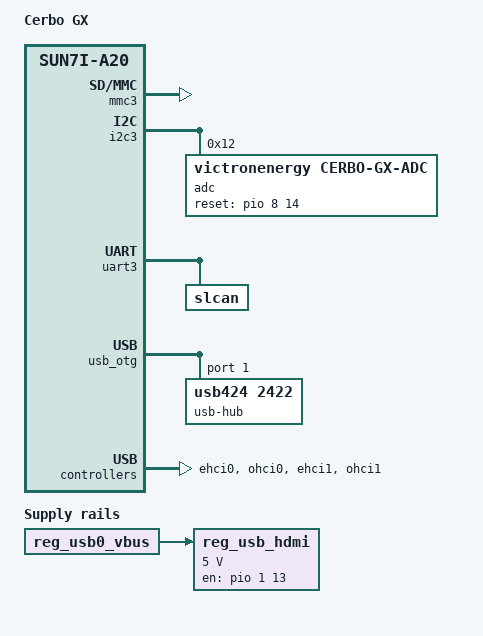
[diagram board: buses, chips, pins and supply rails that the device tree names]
// SPDX-License-Identifier: GPL-2.0 OR X11
/*
 * Copyright (C) 2018 Mans Rullgard <mans@mansr.com>
 */

/dts-v1/;

#include "sun7i-a20-einstein-cerbo-common.dtsi"

/ {
	model = "Cerbo GX";
	compatible = "victronenergy,cerbo-gx",
		     "cubietech,einstein",
		     "allwinner,sun7i-a20";

	/* Prior to PCB rev A9a, power on USB port 3 is controlled by
	   the internal hub.  This dummy regulator (the GPIO is not
	   connected) with a delay ensures proper sequencing. */
	reg_usb_hdmi: usb-hdmi {
		compatible = "regulator-fixed";
		regulator-name = "usb-hdmi";
		regulator-min-microvolt = <5000000>;
		regulator-max-microvolt = <5000000>;
		vin-supply = <&reg_usb0_vbus>;
		startup-delay-us = <1500000>;
		enable-active-high;
		gpio = <&pio 1 13 GPIO_ACTIVE_HIGH>;	/* PB13 */
	};
};

/* Internal USB hub or USB wifi/bt enable */
&reg_usb0_vbus {
	gpio = <&pio 1 8 GPIO_ACTIVE_HIGH>;		/* PB8 */
};

/* External USB port 1 */
&reg_usb1_vbus {
	gpio = <&pio 8 2 GPIO_ACTIVE_HIGH>;		/* PI2 */
};

/* External USB port 2 */
&reg_usb2_vbus {
	gpio = <&pio 8 3 GPIO_ACTIVE_HIGH>;		/* PI3 */
};

&ext_wdt {
	gpios = <&pio 1 12 GPIO_ACTIVE_HIGH>;		/* PB12 */
};

&mmc3 {
	status = "okay";
};

&touchscreen {
	vcc-supply = <&reg_usb_hdmi>;
	iovcc-supply = <&reg_usb_hdmi>;
};

&backlight {
	vcc-supply = <&reg_usb_hdmi>;
};

&i2c3 {
	status = "okay";

	adc@12 {
		compatible = "victronenergy,cerbo-gx-adc";
		reg = <0x12>;
		reset-gpio = <&pio 8 14 GPIO_ACTIVE_HIGH>; /* PI14 */
	};
};

&uart3 {
	pinctrl-names = "default";
	pinctrl-0 = <&uart3_ph_pins>, <&uart3_cts_rts_ph_pins>;
	uart-has-rtscts;
	status = "okay";

	slcan: can {
		compatible = "slcan";
		current-speed = <1500000>;
		flow-control;
		err-rst-on-open;
	};
};

&usb_otg {
	usb-hub@1 {
		compatible = "usb424,2422";
		reg = <1>;

		#address-cells = <1>;
		#size-cells = <0>;

		wireless-controller@1 {
			compatible = "usbbda,b720";
			reg = <1>;
		};

		port@2 {
			reg = <2>;
			status = "disabled";
		};
	};
};

&ehci0 {
	status = "okay";
};

&ohci0 {
	status = "okay";
};

&ehci1 {
	status = "okay";
};

&ohci1 {
	status = "okay";
};

&pio {
	gpio-line-names =
		"digital_input_2",
		"digital_input_4",
		"digital_input_1",
		"digital_input_3",
		"relay_1",
		"relay_2",
		"vebus_standby",
		"mkx_rst";
	gpio-line-numbers =
		<4>,		/* PA4 */
		<5>,		/* PA5 */
		<6>,		/* PA6 */
		<7>,		/* PA7 */
		<35>,		/* PB3 */
		<36>,		/* PB4 */
		<41>,		/* PB9 */
		<42>;		/* PB10 */
};
